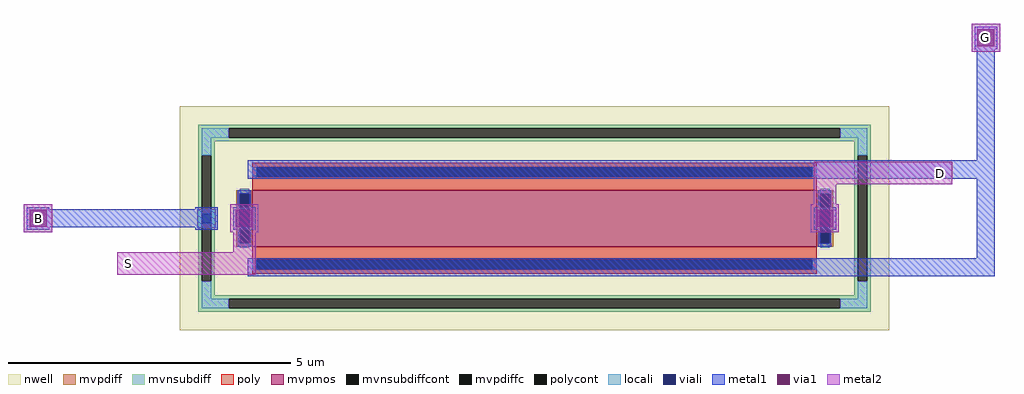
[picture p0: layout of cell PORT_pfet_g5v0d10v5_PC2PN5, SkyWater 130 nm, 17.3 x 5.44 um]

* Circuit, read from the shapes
.subckt PORT_pfet_g5v0d10v5_PC2PN5 B S D G
XM1 D G S B sky130_fd_pr__pfet_g5v0d10v5 w=1 l=10
.ends

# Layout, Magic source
magic
tech sky130A
magscale 1 2
use sky130_fd_pr__pfet_g5v0d10v5_PC2PN5 XDEV
transform 1 0 0 0 1 0
box -1258 -397 1258 397
<< locali >>
rect -1196 -33 -1130 33
<< viali >>
rect -1180 -17 -1146 17
<< metal1 >>
rect -1203 -40 -1123 40
rect -1792 -32 -1131 32
rect -1800 -40 -1720 40
rect -1069 -40 -989 40
rect 989 -40 1069 40
rect -1016 141 1632 205
rect -1016 -205 1632 -141
rect 1568 -196 1632 672
rect 1560 600 1640 680
<< via1 >>
rect -1790 -30 -1730 30
rect -1059 -30 -999 30
rect 999 -30 1059 30
rect 1570 610 1630 670
<< metal2 >>
rect -1810 -50 -1710 50
rect -1079 -50 -979 50
rect -1069 -40 -989 40
rect -1069 -200 -989 40
rect 979 -50 1079 50
rect 989 -40 1069 40
rect 989 -40 1069 200
rect -1480 -200 -989 -120
rect 989 120 1480 200
rect 1550 590 1650 690
<< labels >>
rlabel metal2 -1790 -30 -1730 30 0 B
port 1 nsew
rlabel metal2 -1470 -190 -1410 -130 0 S
port 2 nsew
rlabel metal2 1410 130 1470 190 0 D
port 3 nsew
rlabel metal2 1570 610 1630 670 0 G
port 4 nsew
<< end >>

# cell sky130_fd_pr__pfet_g5v0d10v5_PC2PN5: kit device sky130_fd_pr__pfet_g5v0d10v5, w 1.0 l 10.0 m 1 nf 1 diffcov 100 polycov 100 guard 1 glc 1 grc 1 gtc 1 gbc 1 tbcov 100 rlcov 100 topc 1 botc 1 poverlap 0 doverlap 1 lmin 0.50 wmin 0.42 compatible {sky130_fd_pr__pfet_01v8 sky130_fd_pr__pfet_01v8_lvt sky130_fd_pr__pfet_01v8_hvt sky130_fd_pr__pfet_g5v0d10v5} full_metal 1 viasrc 100 viadrn 100 viagate 100 viagb 0 viagr 0 viagl 0 viagt 0
